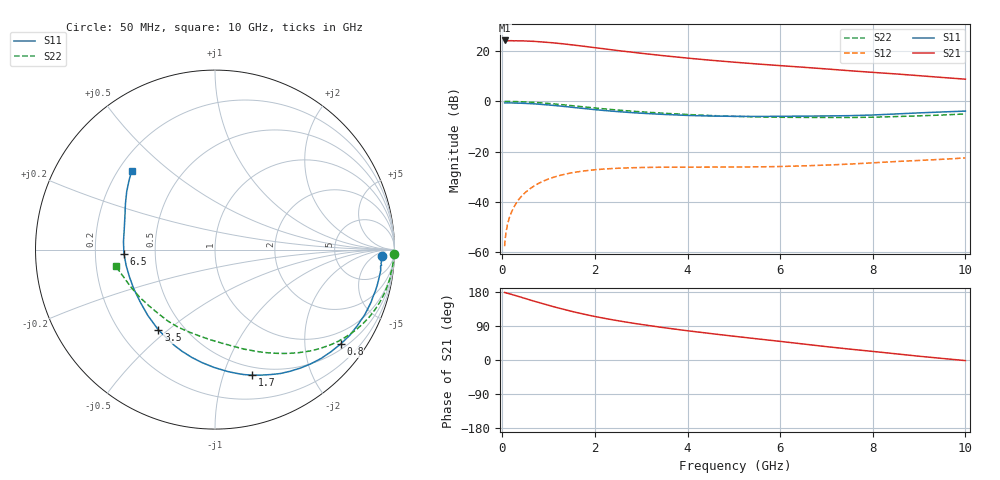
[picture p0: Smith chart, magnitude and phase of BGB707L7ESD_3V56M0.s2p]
! (c) 2009  Infineon Technologies AG, Munich
!  Infineon Technologies AG
!  BGB707L7ESD RU919007 w#7 Sample Build #08493 Teil Nr. 3
!  Vce = 3.5V, Ic = 6.0mA
!  DATUM: 30.06.2009 10:57:03
# GHz  S  MA  R  50
!f  S11  S21  S12  S22
!GHz  Mag  Ang  Mag  Ang  Mag  Ang  Mag  Ang
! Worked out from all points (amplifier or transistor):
!   52 points, 50 MHz to 10 GHz, reference 50 ohm
!   highest |S21| = 24.3 dB at 60 MHz (marker M1)
!   |S21| within 3 dB of that: start of sweep to 2.055 GHz
!   unconditionally stable (mu >= 1): 6.039 GHz to 9.763 GHz
!   at 130 MHz: K = 0.03, MSG = 36.0 dB, |S12| = -47.9 dB
!   at 1.4 GHz: K = 0.18, MSG = 25.8 dB, |S12| = -28.9 dB
!   at 10 GHz: K = 0.97, MSG = 15.7 dB, |S12| = -22.6 dB
!   lowest NFmin = 0.45 dB at 100 MHz
!   S11 on the Smith chart (normalised r, x): 50 MHz: 22, -11; 800 MHz: 0.64, -2.86; 1.7 GHz: 0.42, -1.25; 3.5 GHz: 0.36, -0.46; 6.5 GHz: 0.33, -0.02; 10 GHz: 0.25, +0.38
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0.05  0.9293 -2.1  16.04 178.2  0.001301 72.5  0.9959 -1.3
0.06  0.9322 -2.9  16.33 177.9  0.001749 84.2  0.9963 -1.6
0.08  0.926 -3.7  16.05 177.0  0.00248 85.1  0.9963 -2.3
0.09  0.9301 -4.3  16.18 177.3  0.002767 85.6  0.9962 -2.6
0.1  0.9279 -4.8  16.09 176.3  0.003017 83.8  0.9957 -2.9
0.2  0.9277 -9.5  16.16 173.2  0.006245 82.1  0.9932 -6.0
0.45  0.9131 -21.1  16 163.9  0.01385 77.0  0.9779 -13.5
0.8  0.8754 -37.0  15.39 151.3  0.02361 67.6  0.9378 -23.6
1.2  0.8139 -54.2  14.31 137.6  0.03259 57.7  0.8733 -34.2
1.5  0.7621 -66.0  13.36 128.3  0.03766 51.3  0.8199 -41.2
1.7  0.7295 -73.5  12.7 122.7  0.04027 47.6  0.7857 -45.5
1.8  0.7143 -77.1  12.38 120.0  0.04144 45.9  0.7689 -47.4
2.2  0.6566 -90.4  11.13 110.1  0.0448 40.1  0.7078 -54.8
2.6  0.6142 -102.2  10 101.6  0.04686 35.8  0.6579 -61.2
3  0.5798 -113.0  9.068 93.9  0.04805 32.5  0.6178 -67.0
3.5  0.5478 -125.1  8.081 85.1  0.04873 29.9  0.5782 -73.6
4.5  0.5087 -145.1  6.587 69.8  0.04898 28.1  0.5214 -86.2
5.5  0.5004 -162.3  5.556 55.9  0.04945 29.8  0.4892 -100.1
6.5  0.5078 -177.2  4.779 42.2  0.05176 33.4  0.4788 -115.3
7  0.5118 175.1  4.418 35.2  0.05369 35.1  0.4769 -123.5
8.5  0.5604 152.9  3.516 16.3  0.06319 38.5  0.4971 -148.0
10  0.6393 136.6  2.764 -1.6  0.07452 38.6  0.5614 -170.6
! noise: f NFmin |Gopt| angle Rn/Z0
0.1  0.45  0.46  2  0.18
0.45  0.53  0.46  4  0.18
0.9  0.61  0.47  12  0.18
1.8  0.63  0.4  33  0.17
5  0.92  0.31  70  0.16
10  1.53  0.4  -131  0.13
